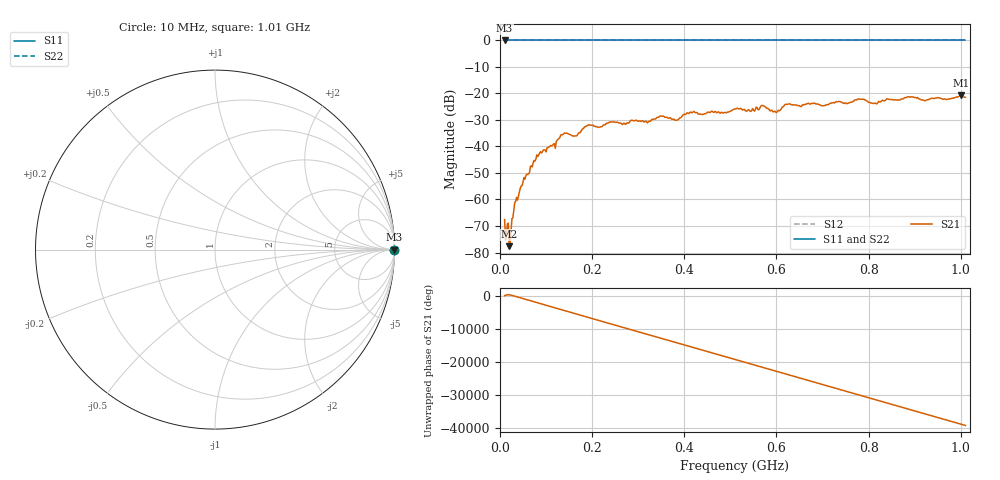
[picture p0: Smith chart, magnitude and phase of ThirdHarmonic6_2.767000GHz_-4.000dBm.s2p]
! 8/17/2025 7:00:54 AM
! C:\ANRITSUVNA\TEMP\TEMP.S2P
! CHANNEL.1
! TR.MEASUREMENT
! RAW.DATA
! RF.CORRECTION.OFF
! AVERAGING.OFF
! IF.BANDWIDTH: 5KHZ
! SWEEPTYPE:  FREQ.SWEEP(Linear)
! Reference Plane Port Info
! PORT:  PORT1  PORT2
! DISTANCE:  0  m  0  m
! TIME:  0  s  0  s
! PHASE.OFFSET:  0  deg.  0  deg.
! LOSS:  0  dB  0  dB
! REF.LOSS:  0  dB  0  dB
! REF.FREQ:  0  Hz  0  Hz
! Power Info
! POWER:  -20  dBm  -20  dBm
! EFF.POWER:  -20  dBm  -20  dBm
! SOURCE.ATTEN:  0  dB  0  dB
! TEST.ATTEN:  0  dB  0  dB
# GHZ S RI R 50.0
! FREQ.GHZ  S11RE  S11IM  S21RE  S21IM  S12RE  S12IM  S22RE  S22IM
!; PortSelection: Port_12
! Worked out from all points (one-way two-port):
!   501 points, 10 MHz to 1.01 GHz, reference 50 ohm
!   highest |S21| = -20.75 dB at 1 GHz (marker M1); lowest = -77.6 dB at 20 MHz (marker M2)
!   lowest |S11| = 0.0 dB at 10 MHz (marker M3)
!   |S11| at or under -10 dB: nowhere
!   |S22| runs from 0.0 to 0.0 dB; largest |S21 - S12| = 1.1
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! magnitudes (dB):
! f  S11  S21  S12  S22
! 10 MHz  0.0  -67.6  0.0  0.0
! 20 MHz  0.0  -77.6  0.0  0.0
! 24 MHz  0.0  -71.9  0.0  0.0
! 32 MHz  0.0  -61.2  0.0  0.0
! 48 MHz  0.0  -54.8  0.0  0.0
! 84 MHz  0.0  -43.2  0.0  0.0
! 136 MHz  0.0  -35.6  0.0  0.0
! 164 MHz  0.0  -36.0  0.0  0.0
! 178 MHz  0.0  -33.6  0.0  0.0
! 192 MHz  0.0  -31.8  0.0  0.0
! 322 MHz  0.0  -30.7  0.0  0.0
! 344 MHz  0.0  -29.0  0.0  0.0
! 384 MHz  0.0  -30.1  0.0  0.0
! 416 MHz  0.0  -27.3  0.0  0.0
! 510 MHz  0.0  -25.8  0.0  0.0
! 570 MHz  0.0  -24.5  0.0  0.0
! 598 MHz  0.0  -26.9  0.0  0.0
! 622 MHz  0.0  -24.1  0.0  0.0
! 678 MHz  0.0  -23.7  0.0  0.0
! 844 MHz  0.0  -22.2  0.0  0.0
! 1 GHz  0.0  -20.8  0.0  0.0
! 1.01 GHz  0.0  -21.4  0.0  0.0
